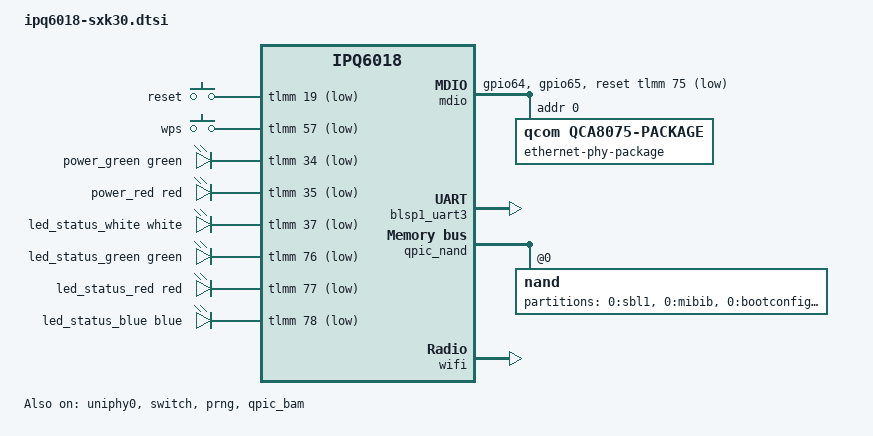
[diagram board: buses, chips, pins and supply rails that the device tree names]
// SPDX-License-Identifier: GPL-2.0-or-later OR MIT

#include "ipq6018.dtsi"
#include "ipq6018-cp-cpu.dtsi"
#include "ipq6018-512m.dtsi"
#include "ipq6018-ess.dtsi"
#include <dt-bindings/gpio/gpio.h>
#include <dt-bindings/input/input.h>
#include <dt-bindings/leds/common.h>

/ {
	aliases {
		serial0 = &blsp1_uart3;
		led-boot = &led_status_white;
		led-failsafe = &led_status_red;
		led-running = &led_status_green;
		led-upgrade = &led_status_blue;
	};

	chosen {
		stdout-path = "serial0:115200n8";
		bootargs-append = " ubi.mtd=ubi root=/dev/ubiblock0_1";
	};

	keys {
		compatible = "gpio-keys";

		reset {
			label = "reset";
			gpios = <&tlmm 19 GPIO_ACTIVE_LOW>;
			linux,code = <KEY_RESTART>;
			debounce-interval = <60>;
		};

		wps {
			label = "wps";
			gpios = <&tlmm 57 GPIO_ACTIVE_LOW>;
			linux,code = <KEY_WPS_BUTTON>;
			debounce-interval = <60>;
		};
	};

	leds {
		compatible = "gpio-leds";

		power_green {
			function = LED_FUNCTION_POWER;
			color = <LED_COLOR_ID_GREEN>;
			gpios = <&tlmm 34 GPIO_ACTIVE_LOW>;
			default-state = "on";
		};

		power_red {
			function = LED_FUNCTION_FAULT;
			color = <LED_COLOR_ID_RED>;
			gpios = <&tlmm 35 GPIO_ACTIVE_LOW>;
			panic-indicator;
		};

		led_status_white: status_white {
			function = LED_FUNCTION_STATUS;
			color = <LED_COLOR_ID_WHITE>;
			gpios = <&tlmm 37 GPIO_ACTIVE_LOW>;
		};

		led_status_green: status_green {
			function = LED_FUNCTION_STATUS;
			color = <LED_COLOR_ID_GREEN>;
			gpios = <&tlmm 76 GPIO_ACTIVE_LOW>;
		};

		led_status_red: status_red {
			function = LED_FUNCTION_STATUS;
			color = <LED_COLOR_ID_RED>;
			gpios = <&tlmm 77 GPIO_ACTIVE_LOW>;
		};

		led_status_blue: status_blue {
			function = LED_FUNCTION_STATUS;
			color = <LED_COLOR_ID_BLUE>;
			gpios = <&tlmm 78 GPIO_ACTIVE_LOW>;
		};
	};
};

&edma {
	status = "okay";
};

&uniphy0 {
	status = "okay";
};

&switch {
	status = "okay";

	ports {
		#address-cells = <1>;
		#size-cells = <0>;

		port@0 {
			reg = <0>;
			ethernet = <&edma>;
			phy-mode = "internal";

			fixed-link {
				speed = <1000>;
				full-duplex;
			};
		};

		swport2: port@2 {
			reg = <2>;
			phy-handle = <&phy1>;
			phy-mode = "psgmii";
			pcs-handle = <&uniphy0 1>;
		};

		swport3: port@3 {
			reg = <3>;
			phy-handle = <&phy2>;
			phy-mode = "psgmii";
			pcs-handle = <&uniphy0 2>;
			nvmem-cells = <&macaddr_lan>;
			nvmem-cell-names = "mac-address";
		};

		swport4: port@4 {
			reg = <4>;
			phy-handle = <&phy3>;
			phy-mode = "psgmii";
			pcs-handle = <&uniphy0 3>;
			nvmem-cells = <&macaddr_lan>;
			nvmem-cell-names = "mac-address";
		};

		swport5: port@5 {
			reg = <5>;
			phy-handle = <&phy4>;
			phy-mode = "psgmii";
			pcs-handle = <&uniphy0 4>;
			nvmem-cells = <&macaddr_lan>;
			nvmem-cell-names = "mac-address";
		};
	};
};

&tlmm {
	mdio_pins: mdio-pins {
		mdc {
			pins = "gpio64";
			function = "mdc";
			drive-strength = <8>;
			bias-pull-up;
		};

		mdio {
			pins = "gpio65";
			function = "mdio";
			drive-strength = <8>;
			bias-pull-up;
		};
	};
};

&mdio {
	status = "okay";

	pinctrl-0 = <&mdio_pins>;
	pinctrl-names = "default";
	reset-gpios = <&tlmm 75 GPIO_ACTIVE_LOW>;
	reset-delay-us = <10000>;
	reset-post-delay-us = <50000>;

	ethernet-phy-package {
		#address-cells = <1>;
		#size-cells = <0>;
		compatible = "qcom,qca8075-package";
		reg = <0>;

		qcom,package-mode = "psgmii";

		phy0: ethernet-phy@0 {
			compatible = "ethernet-phy-ieee802.3-c22";
			reg = <0>;
		};

		phy1: ethernet-phy@1 {
			compatible = "ethernet-phy-ieee802.3-c22";
			reg = <1>;
		};

		phy2: ethernet-phy@2 {
			compatible = "ethernet-phy-ieee802.3-c22";
			reg = <2>;
		};

		phy3: ethernet-phy@3 {
			compatible = "ethernet-phy-ieee802.3-c22";
			reg = <3>;
		};

		phy4: ethernet-phy@4 {
			compatible = "ethernet-phy-ieee802.3-c22";
			reg = <4>;
		};
	};
};

&blsp1_uart3 {
	pinctrl-0 = <&serial_3_pins>;
	pinctrl-names = "default";
	status = "okay";
};

&prng {
	status = "okay";
};

&qpic_bam {
	status = "okay";
};

&qpic_nand {
	status = "okay";

	nand@0 {
		reg = <0>;
		nand-ecc-strength = <4>;
		nand-ecc-step-size = <512>;
		nand-bus-width = <8>;

		/*
		 * The SMEM partition table only covers the partitions up to
		 * 0:art. The vendor kernel hardcodes the remaining layout,
		 * which differs between SXR30 (512 MiB) and SXS30 (256 MiB)
		 * from 0x1b00000 on, see the board DTS.
		 */
		partitions: partitions {
			compatible = "fixed-partitions";
			#address-cells = <1>;
			#size-cells = <1>;

			partition@0 {
				label = "0:sbl1";
				reg = <0x0000000 0x0180000>;
				read-only;
			};

			partition@180000 {
				label = "0:mibib";
				reg = <0x0180000 0x0100000>;
				read-only;
			};

			partition@280000 {
				label = "0:bootconfig";
				reg = <0x0280000 0x0080000>;
				read-only;
			};

			partition@300000 {
				label = "0:bootconfig1";
				reg = <0x0300000 0x0080000>;
				read-only;
			};

			partition@380000 {
				label = "0:qsee";
				reg = <0x0380000 0x0380000>;
				read-only;
			};

			partition@700000 {
				label = "0:qsee_1";
				reg = <0x0700000 0x0380000>;
				read-only;
			};

			partition@a80000 {
				label = "0:devcfg";
				reg = <0x0a80000 0x0080000>;
				read-only;
			};

			partition@b00000 {
				label = "0:devcfg_1";
				reg = <0x0b00000 0x0080000>;
				read-only;
			};

			partition@b80000 {
				label = "0:rpm";
				reg = <0x0b80000 0x0080000>;
				read-only;
			};

			partition@c00000 {
				label = "0:rpm_1";
				reg = <0x0c00000 0x0080000>;
				read-only;
			};

			partition@c80000 {
				label = "0:cdt";
				reg = <0x0c80000 0x0080000>;
				read-only;
			};

			partition@d00000 {
				label = "0:cdt_1";
				reg = <0x0d00000 0x0080000>;
				read-only;
			};

			partition@d80000 {
				label = "0:appsblenv";
				reg = <0x0d80000 0x0080000>;

				nvmem-layout {
					compatible = "u-boot,env";
					env-size = <0x40000>;
				};
			};

			partition@e00000 {
				label = "0:appsbl";
				reg = <0x0e00000 0x0180000>;
				read-only;
			};

			partition@f80000 {
				label = "0:appsbl_1";
				reg = <0x0f80000 0x0180000>;
				read-only;
			};

			partition@1100000 {
				label = "0:art";
				reg = <0x1100000 0x0080000>;
				read-only;
			};

			partition@1180000 {
				label = "0:art.bak";
				reg = <0x1180000 0x0080000>;
				read-only;
			};

			partition@1200000 {
				label = "config";
				reg = <0x1200000 0x0100000>;
				read-only;
			};

			partition@1300000 {
				label = "boarddata1";
				reg = <0x1300000 0x0100000>;
				read-only;

				nvmem-layout {
					compatible = "fixed-layout";
					#address-cells = <1>;
					#size-cells = <1>;

					macaddr_lan: macaddr@0 {
						reg = <0x0 0x6>;
					};

					macaddr_wan: macaddr@6 {
						reg = <0x6 0x6>;
					};
				};
			};

			partition@1400000 {
				label = "boarddata2";
				reg = <0x1400000 0x0100000>;
				read-only;
			};

			partition@1500000 {
				label = "pot";
				reg = <0x1500000 0x0100000>;
				read-only;
			};

			partition@1600000 {
				label = "dnidata";
				reg = <0x1600000 0x0500000>;
				read-only;
			};

			/* stock "firmware", remaining partitions in board DTS */
		};
	};
};

&wifi {
	status = "okay";
	qcom,calibration-variant = "Netgear-SXK30";
	qcom,ath11k-fw-memory-mode = <1>;
};
